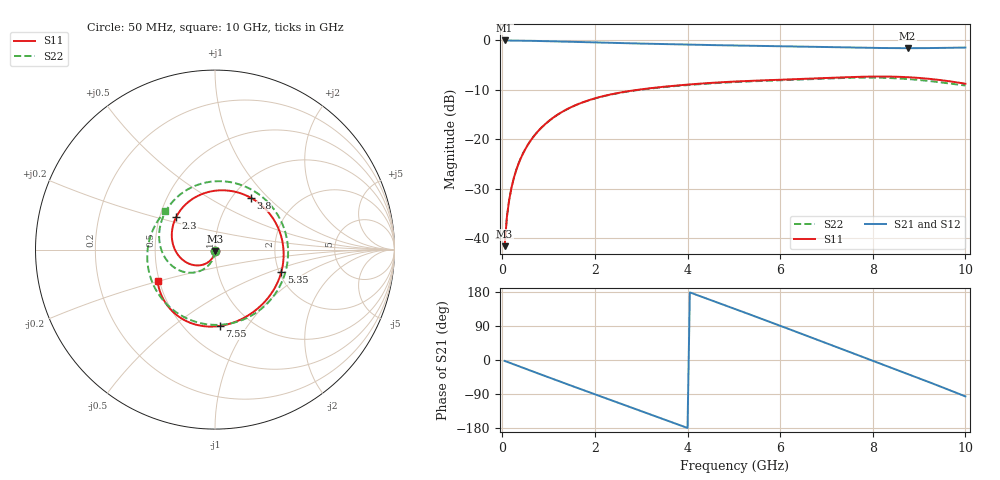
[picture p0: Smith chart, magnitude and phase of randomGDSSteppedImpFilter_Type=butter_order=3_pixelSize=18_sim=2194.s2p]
! freq	dB(S11)	phase(S11)	dB(S12)	phase(S12)
!  dB(S21)	phase(S21)	dB(S22)	phase(S22)
!S-par simulation data
#  GHz  S  DB  R 50
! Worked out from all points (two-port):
!   200 points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, 50 MHz to 10 GHz, reference 50 ohm
!   highest |S21| = 0.00 dB at 50 MHz (marker M1); lowest = -1.6 dB at 8.75 GHz (marker M2)
!   |S21| within 3 dB of the highest: start of sweep to end of sweep
!   lowest |S11| = -41.6 dB at 50 MHz (marker M3), VSWR 1.02, Z = 50 - j0.827 ohm
!   |S11| at or under -10 dB: start of sweep to 2.917 GHz
!   |S22| runs from -41.6 to -7.5 dB; largest |S21 - S12| = 0
!   S11 on the Smith chart (normalised r, x): 50 MHz: 1.00, -0.02; 2.3 GHz: 0.61, +0.24; 3.8 GHz: 1.21, +0.80; 5.35 GHz: 2.06, -0.60; 7.55 GHz: 0.73, -0.76; 10 GHz: 0.49, -0.20
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0.05  -41.64 -92.3  -0.00 -2.3  -0.00 -2.3  -41.63 -91.3
0.1  -35.67 -95.3  -0.01 -4.7  -0.01 -4.7  -35.67 -93.4
0.2  -29.73 -101.3  -0.02 -9.3  -0.02 -9.3  -29.72 -97.5
0.35  -24.96 -109.9  -0.04 -16.1  -0.04 -16.1  -24.95 -103.2
0.5  -21.95 -118.4  -0.06 -23.0  -0.06 -23.0  -21.94 -108.8
1.15  -15.30 -154.7  -0.19 -52.5  -0.19 -52.5  -15.30 -132.0
1.75  -12.48 171.7  -0.34 -79.4  -0.34 -79.4  -12.50 -152.3
2.3  -11.01 140.5  -0.48 -103.8  -0.48 -103.8  -11.04 -170.0
2.8  -10.16 111.9  -0.59 -126.0  -0.59 -126.0  -10.21 174.4
3.4  -9.46 77.6  -0.72 -152.6  -0.72 -152.6  -9.53 155.4
3.8  -9.10 55.4  -0.80 -170.4  -0.80 -170.4  -9.18 142.1
4.4  -8.66 24.1  -0.92 162.7  -0.92 162.7  -8.76 120.2
5.05  -8.30 -6.0  -1.03 133.5  -1.03 133.5  -8.42 92.6
5.35  -8.18 -18.4  -1.08 120.0  -1.08 120.0  -8.29 78.2
6  -7.97 -41.9  -1.17 90.4  -1.17 90.4  -8.06 43.5
6.7  -7.73 -63.2  -1.28 58.1  -1.28 58.1  -7.82 1.8
7.1  -7.57 -74.2  -1.35 39.6  -1.35 39.6  -7.68 -23.4
7.55  -7.41 -86.2  -1.43 18.8  -1.43 18.8  -7.56 -52.1
8.35  -7.31 -107.5  -1.55 -18.1  -1.55 -18.1  -7.60 -103.5
8.75  -7.44 -118.2  -1.57 -36.6  -1.57 -36.6  -7.80 -129.6
9.4  -7.95 -135.5  -1.53 -67.1  -1.53 -67.1  -8.41 -173.8
10  -8.76 -151.5  -1.44 -96.1  -1.44 -96.1  -9.12 142.4
